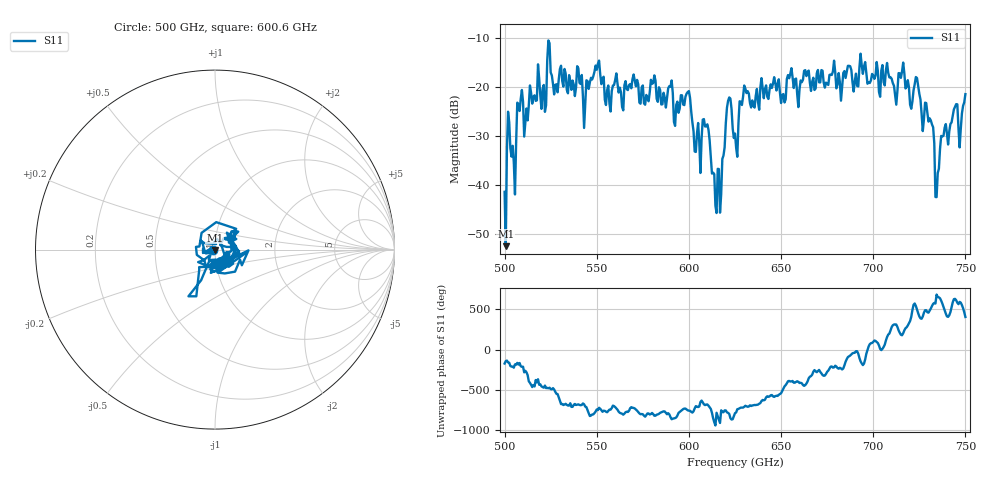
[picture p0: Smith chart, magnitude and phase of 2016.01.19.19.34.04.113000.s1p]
!Created with skrf (http://scikit-rf.org).
# GHz S RI R 50.0
!freq ReS11 ImS11
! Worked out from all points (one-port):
!   401 points, 500 GHz to 750 GHz, reference 50 ohm
!   lowest |S11| = -52.4 dB at 500.6 GHz (marker M1), VSWR 1.00, Z = 49.8 - j0.148 ohm
!   |S11| at or under -10 dB: start of sweep to end of sweep
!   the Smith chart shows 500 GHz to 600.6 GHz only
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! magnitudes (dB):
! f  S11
! 500 GHz  -41.3
! 500.6 GHz  -52.4
! 502.5 GHz  -27.2
! 505 GHz  -35.4
! 508.1 GHz  -24.9
! 521.2 GHz  -19.6
! 524.4 GHz  -11.0
! 527.5 GHz  -19.5
! 531.2 GHz  -18.7
! 562.5 GHz  -20.1
! 580.6 GHz  -19.2
! 593.8 GHz  -22.9
! 599.4 GHz  -21.0
! 605 GHz  -27.3
! 609.4 GHz  -28.0
! 615.6 GHz  -36.6
! 618.1 GHz  -34.6
! 621.2 GHz  -22.8
! 625 GHz  -29.5
! 630.6 GHz  -20.3
! 656.2 GHz  -18.1
! 687.5 GHz  -15.7
! 718.8 GHz  -18.6
! 729.4 GHz  -25.3
! 735 GHz  -37.5
! 738.1 GHz  -29.9
! 747.5 GHz  -28.5
! 750 GHz  -21.4
